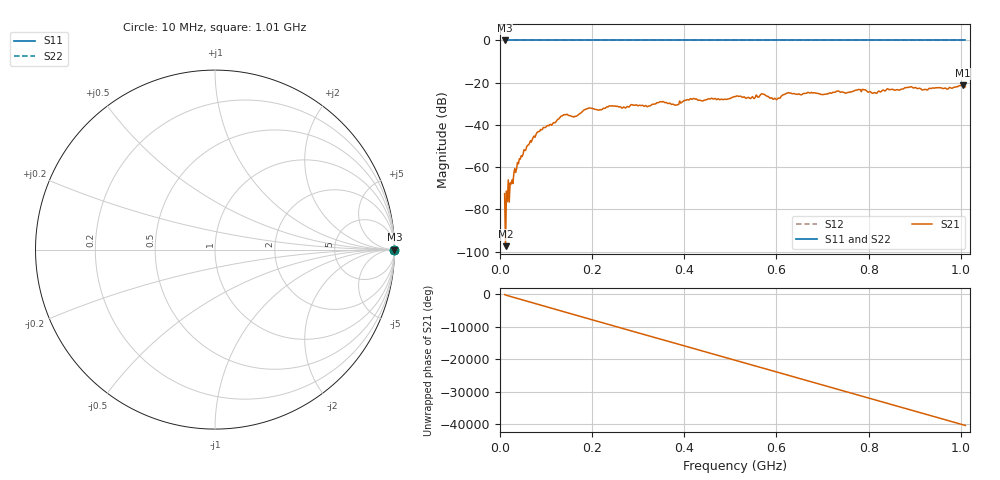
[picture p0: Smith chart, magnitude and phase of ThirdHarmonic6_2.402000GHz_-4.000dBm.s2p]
! 8/17/2025 3:58:04 AM
! C:\ANRITSUVNA\TEMP\TEMP.S2P
! CHANNEL.1
! TR.MEASUREMENT
! RAW.DATA
! RF.CORRECTION.OFF
! AVERAGING.OFF
! IF.BANDWIDTH: 5KHZ
! SWEEPTYPE:  FREQ.SWEEP(Linear)
! Reference Plane Port Info
! PORT:  PORT1  PORT2
! DISTANCE:  0  m  0  m
! TIME:  0  s  0  s
! PHASE.OFFSET:  0  deg.  0  deg.
! LOSS:  0  dB  0  dB
! REF.LOSS:  0  dB  0  dB
! REF.FREQ:  0  Hz  0  Hz
! Power Info
! POWER:  -20  dBm  -20  dBm
! EFF.POWER:  -20  dBm  -20  dBm
! SOURCE.ATTEN:  0  dB  0  dB
! TEST.ATTEN:  0  dB  0  dB
# GHZ S RI R 50.0
! FREQ.GHZ  S11RE  S11IM  S21RE  S21IM  S12RE  S12IM  S22RE  S22IM
!; PortSelection: Port_12
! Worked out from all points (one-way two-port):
!   501 points, 10 MHz to 1.01 GHz, reference 50 ohm
!   highest |S21| = -21.30 dB at 1.004 GHz (marker M1); lowest = -97.4 dB at 12 MHz (marker M2)
!   lowest |S11| = 0.0 dB at 10 MHz (marker M3)
!   |S11| at or under -10 dB: nowhere
!   |S22| runs from 0.0 to 0.0 dB; largest |S21 - S12| = 1.1
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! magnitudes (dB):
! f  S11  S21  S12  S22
! 10 MHz  0.0  -72.6  0.0  0.0
! 12 MHz  0.0  -97.4  0.0  0.0
! 16 MHz  0.0  -76.3  0.0  0.0
! 42 MHz  0.0  -56.1  0.0  0.0
! 82 MHz  0.0  -43.3  0.0  0.0
! 136 MHz  0.0  -35.6  0.0  0.0
! 162 MHz  0.0  -36.0  0.0  0.0
! 178 MHz  0.0  -33.8  0.0  0.0
! 344 MHz  0.0  -29.5  0.0  0.0
! 382 MHz  0.0  -30.6  0.0  0.0
! 416 MHz  0.0  -27.8  0.0  0.0
! 510 MHz  0.0  -26.6  0.0  0.0
! 548 MHz  0.0  -26.6  0.0  0.0
! 570 MHz  0.0  -25.4  0.0  0.0
! 596 MHz  0.0  -27.3  0.0  0.0
! 624 MHz  0.0  -24.9  0.0  0.0
! 678 MHz  0.0  -24.9  0.0  0.0
! 778 MHz  0.0  -23.2  0.0  0.0
! 814 MHz  0.0  -24.7  0.0  0.0
! 844 MHz  0.0  -23.3  0.0  0.0
! 1.004 GHz  0.0  -21.3  0.0  0.0
! 1.01 GHz  0.0  -21.9  0.0  0.0
